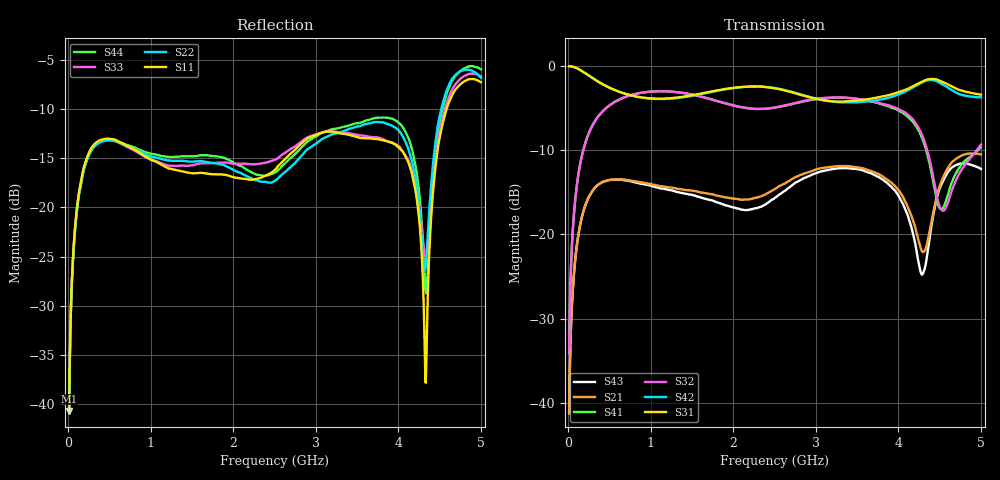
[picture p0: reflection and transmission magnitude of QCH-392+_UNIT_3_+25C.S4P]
!Mini-Circuits Laboratory
!S-Parameters
!Model: QCH-392+
!Run/Date Code: 1935
!DATA FOR: UNIT # 3
!Unit soldered on TB-863
!Freq	S11:SOLT4(ON)	S12:SOLT4(ON)	S13:SOLT4(ON)	S14:SOLT4(ON)
!	S21:SOLT4(ON)	S22:SOLT4(ON)	S23:SOLT4(ON)	S24:SOLT4(ON)
!	S31:SOLT4(ON)	S32:SOLT4(ON)	S33:SOLT4(ON)	S34:SOLT4(ON)
!	S41:SOLT4(ON)	S42:SOLT4(ON)	S43:SOLT4(ON)	S44:SOLT4(ON)
!PortZ  Port1:50+j0  Port2:50+j0  Port3:50+j0  Port4:50+j0
!Above PortZ is port z conversion or system Z0 setting when saving the data.
!Connection: PORT-1 - pin<1>;  PORT-2 - pin<2>;  PORT-3- pin<3>; PORT-4- pin<4>
!When reading, reference impedance value at option line is always used.
# Hz S RI R 50
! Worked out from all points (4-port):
!   1001 points, 10 MHz to 5 GHz, reference 50 ohm
!   strongest paths, dB at 10 MHz, 1.258 GHz, 2.505 GHz, 3.752 GHz, 5 GHz:
!     S31: 0.0, -3.8, -2.7, -3.7, -3.4
!     S42: 0.0, -3.9, -2.6, -4.1, -3.7
!     S32: -34.1, -3.1, -4.9, -4.4, -9.4
!     S41: -34.1, -3.1, -5.0, -4.4, -9.7
!     S21: -41.2, -14.4, -14.6, -12.8, -10.5
!     S43: -41.2, -14.8, -15.7, -13.2, -12.2
!   lowest |S11| = -40.7 dB at 10 MHz (marker M1), VSWR 1.02, Z = 50 - j0.924 ohm
!   |S11| at or under -10 dB: start of sweep to 4.584 GHz
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1e7  -0.000144 -0.00924  0.000476 0.00863  0.9947 -0.0373  0.000851 0.0196
     0.000481 0.00867  -0.00104 -0.00903  0.000866 0.0196  0.9955 -0.0371
     0.9948 -0.0372  0.000862 0.0196  -0.000385 -0.00976  0.000488 0.00866
     0.000853 0.0196  0.9954 -0.0372  0.000487 0.00865  -0.000828 -0.00895
2.595e8  -0.1816 -0.0659  0.1674 0.0275  0.5706 -0.6542  0.3341 0.2388
         0.1681 0.0278  -0.1769 -0.0615  0.3324 0.2398  0.5698 -0.6581
         0.5707 -0.6543  0.3323 0.2398  -0.1801 -0.0679  0.1679 0.0287
         0.3341 0.2387  0.5696 -0.6578  0.1677 0.0287  -0.1782 -0.0634
1.26249e9  0.0624 0.1434  -0.1834 -0.0454  -0.6445 -8.83e-05  -0.0367 -0.7019
           -0.1836 -0.0454  0.059 0.1621  -0.026 -0.7019  -0.6399 0.0125
           -0.6445 -0.000303  -0.0257 -0.702  0.0559 0.1528  -0.1747 -0.0475
           -0.0362 -0.7016  -0.6397 0.012  -0.1755 -0.0472  0.0667 0.168
2.42516e9  -0.0835 -0.1215  0.1132 0.137  0.7366 0.1126  -0.0447 0.5569
           0.1119 0.1364  -0.0923 -0.0969  -0.0466 0.5576  0.7428 0.0907
           0.7361 0.1126  -0.0463 0.557  -0.0729 -0.1537  0.07 0.1372
           -0.0448 0.5564  0.7419 0.0911  0.0698 0.138  -0.0753 -0.1249
3.19861e9  -0.0509 0.2372  0.0782 -0.2385  -0.1423 -0.5993  0.5936 -0.2562
           0.0773 -0.2396  -0.0359 0.233  0.5938 -0.2643  -0.1803 -0.587
           -0.1422 -0.599  0.5942 -0.2645  -0.1212 0.2118  0.1364 -0.2015
           0.5937 -0.2559  -0.1803 -0.5867  0.1378 -0.2008  -0.1059 0.2263
4.33134e9  -0.000265 0.0128  -0.0552 0.06  -0.0216 0.8235  -0.3167 -0.0664
           -0.0558 0.0601  -0.0112 0.0494  -0.3324 -0.0649  0.0297 0.8145
           -0.0217 0.8235  -0.3321 -0.0649  -0.0054 0.0554  -0.0641 0.019
           -0.3163 -0.0666  0.029 0.8141  -0.0633 0.0194  0.00559 0.0369
5e9  0.3038 0.3094  0.2981 0.017  0.624 -0.2559  -0.2603 -0.2006
     0.2974 0.0168  0.3113 0.3333  -0.249 -0.2322  0.5973 -0.2598
     0.6244 -0.2552  -0.249 -0.2325  0.252 0.3905  0.2247 0.0962
     -0.2601 -0.2015  0.597 -0.2595  0.2246 0.0965  0.2986 0.4061
